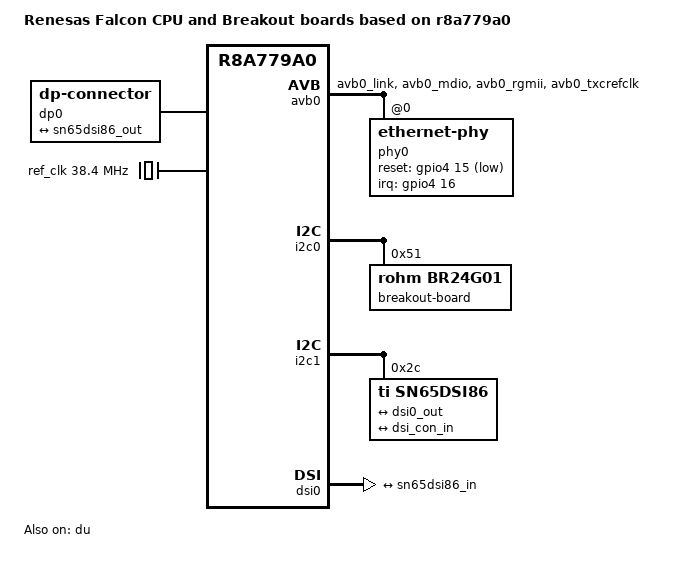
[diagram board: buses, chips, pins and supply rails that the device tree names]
// SPDX-License-Identifier: GPL-2.0
/*
 * Device Tree Source for the Falcon CPU and BreakOut boards
 *
 * Copyright (C) 2020 Renesas Electronics Corp.
 */

/dts-v1/;
#include "r8a779a0-falcon-cpu.dtsi"
#include "r8a779a0-falcon-csi-dsi.dtsi"
#include "r8a779a0-falcon-ethernet.dtsi"

/ {
	model = "Renesas Falcon CPU and Breakout boards based on r8a779a0";
	compatible = "renesas,falcon-breakout", "renesas,falcon-cpu", "renesas,r8a779a0";

	aliases {
		ethernet0 = &avb0;
	};

	dsi-con {
		compatible = "dp-connector";
		label = "dp0";
		type = "mini";

		port {
			dsi_con_in: endpoint {
				remote-endpoint = <&sn65dsi86_out>;
			};
		};
	};

	ref_clk: refclk {
		compatible = "fixed-clock";
		#clock-cells = <0>;
		clock-frequency = <38400000>;
	};
};

&avb0 {
	pinctrl-0 = <&avb0_pins>;
	pinctrl-names = "default";
	phy-handle = <&phy0>;
	tx-internal-delay-ps = <2000>;
	status = "okay";

	phy0: ethernet-phy@0 {
		rxc-skew-ps = <1500>;
		reg = <0>;
		interrupt-parent = <&gpio4>;
		interrupts = <16 IRQ_TYPE_LEVEL_LOW>;
		reset-gpios = <&gpio4 15 GPIO_ACTIVE_LOW>;
	};
};

&i2c0 {
	eeprom@51 {
		compatible = "rohm,br24g01", "atmel,24c01";
		label = "breakout-board";
		reg = <0x51>;
		pagesize = <8>;
	};
};

&i2c1 {
	sn65dsi86@2c {
		compatible = "ti,sn65dsi86";
		reg = <0x2c>;

		clocks = <&ref_clk>;
		clock-names = "refclk";

		ports {
			#address-cells = <1>;
			#size-cells = <0>;

			port@0 {
				reg = <0>;
				sn65dsi86_in: endpoint {
					remote-endpoint = <&dsi0_out>;
				};
			};

			port@1 {
				reg = <1>;
				sn65dsi86_out: endpoint {
					remote-endpoint = <&dsi_con_in>;
				};
			};
		};
	};
};

&pfc {
	avb0_pins: avb0 {
		mux {
			groups = "avb0_link", "avb0_mdio", "avb0_rgmii",
				 "avb0_txcrefclk";
			function = "avb0";
		};

		pins_mdio {
			groups = "avb0_mdio";
			drive-strength = <21>;
		};

		pins_mii {
			groups = "avb0_rgmii";
			drive-strength = <21>;
		};

	};
};

&du {
	status = "okay";
};

&dsi0 {
	status = "okay";

	clocks = <&cpg CPG_MOD 415>,
		 <&cpg CPG_CORE R8A779A0_CLK_DSI>,
		 <&extal_clk>;
	clock-names = "fck", "dsi", "extal";

	ports {
		port@1 {
			endpoint {
				remote-endpoint = <&sn65dsi86_in>;
				data-lanes = <1 2 3 4>;
			};
		};
	};
};
